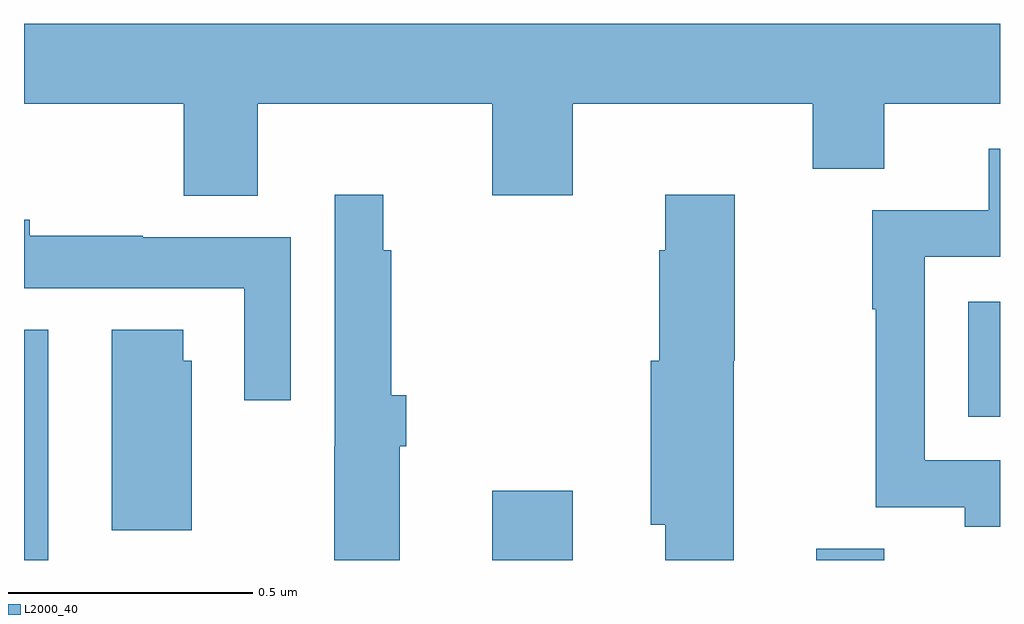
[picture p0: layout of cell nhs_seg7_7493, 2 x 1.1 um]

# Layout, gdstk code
import gdstk
lib = gdstk.Library(unit=1e-6, precision=1e-09)
def R(c, l, rs):  # rectangles x0, y0, x1, y1
    for r in rs: c.add(gdstk.rectangle(r[:2], r[2:], *l))
def P(c, l, *ps):  # polygons
    for p in ps: c.add(gdstk.Polygon(p, *l))
L2000_40 = (2000, 40)

nhs_seg7_7493 = lib.new_cell('nhs_seg7_7493')
R(nhs_seg7_7493, L2000_40, [(212,1013,212.05,1013.473), (212.96,1013,213.124,1013.143), (213.623,1013,213.763,1013.024), (213.935,1013.294,214,1013.53)])
P(nhs_seg7_7493, L2000_40, [(212.479,1013.936),(212.96,1013.936),(212.96,1013.748),(213.124,1013.748),(213.124,1013.936),(213.616,1013.936),(213.616,1013.803),(213.763,1013.803),(213.763,1013.936),(214,1013.936),(214,1014.1),(212,1014.1),(212,1013.936),(212.327,1013.936),(212.327,1013.747),(212.479,1013.747)],
  [(214,1013.205),(213.846,1013.205),(213.846,1013.622),(214,1013.622),(214,1013.844),(213.977,1013.844),(213.977,1013.718),(213.738,1013.718),(213.738,1013.515),(213.745,1013.515),(213.745,1013.109),(213.928,1013.109),(213.928,1013.069),(214,1013.069)],
  [(213.454,1013.409),(213.456,1013.409),(213.456,1013.749),(213.314,1013.749),(213.314,1013.636),(213.302,1013.636),(213.302,1013.409),(213.284,1013.409),(213.284,1013.073),(213.314,1013.073),(213.314,1013),(213.454,1013)],
  [(212.77,1013.234),(212.783,1013.234),(212.783,1013.338),(212.753,1013.338),(212.753,1013.636),(212.736,1013.636),(212.736,1013.749),(212.637,1013.749),(212.637,1013.234),(212.636,1013.234),(212.636,1013),(212.77,1013)],
  [(212.547,1013.662),(212.243,1013.662),(212.243,1013.665),(212.012,1013.665),(212.012,1013.698),(212,1013.698),(212,1013.558),(212.451,1013.558),(212.451,1013.328),(212.547,1013.328)],
  [(212.344,1013.409),(212.326,1013.409),(212.326,1013.473),(212.18,1013.473),(212.18,1013.062),(212.344,1013.062)])

lib.write_gds('nhs_seg7_7493.gds')
